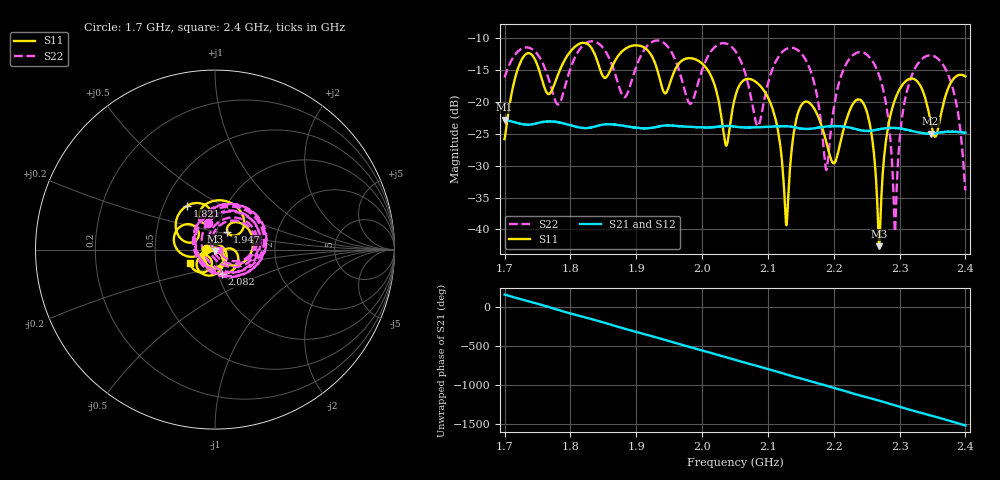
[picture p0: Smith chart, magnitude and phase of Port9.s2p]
# Hz S RI R 50
! CMT, CMT808U, 21440046, 21.4.3/4
! Date: 9/9/2026 12:53:36 AM
! Data: Format (Calibration Info)
! Freq	S11:Re/Im(F2)	S41:Re/Im(F2)	S14:Re/Im(F2)	S44:Re/Im(F2)
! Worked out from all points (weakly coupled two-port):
!   3001 points, 1.7 GHz to 2.4 GHz, reference 50 ohm
!   highest |S21| = -22.82 dB at 1.7 GHz (marker M1); lowest = -25.0 dB at 2.347 GHz (marker M2)
!   lowest |S11| = -42.6 dB at 2.269 GHz (marker M3), VSWR 1.01, Z = 49.8 - j0.72 ohm
!   |S11| at or under -10 dB: start of sweep to end of sweep
!   |S22| runs from -40.3 to -10.4 dB; largest |S21 - S12| = 0.0012
!   S11 on the Smith chart (normalised r, x): 1.7 GHz: 0.90, +0.00; 1.821 GHz: 0.66, +0.35; 1.947 GHz: 1.12, +0.23; 2.082 GHz: 1.04, -0.29; 2.4 GHz: 0.75, -0.11
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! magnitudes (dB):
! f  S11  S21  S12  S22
! 1.7 GHz  -25.8  -22.8  -22.9  -16.2
! 1.73 GHz  -12.8  -23.5  -23.6  -11.5
! 1.781 GHz  -15.7  -23.2  -23.2  -20.4
! 1.817 GHz  -10.8  -24.1  -24.1  -11.4
! 1.821 GHz  -10.8  -24.1  -24.1  -11.0
! 1.882 GHz  -11.8  -23.8  -23.8  -19.3
! 1.934 GHz  -15.6  -23.9  -23.9  -10.4
! 1.947 GHz  -18.4  -23.7  -23.7  -11.2
! 1.982 GHz  -13.2  -23.9  -24.0  -20.3
! 2.036 GHz  -26.8  -23.8  -23.8  -10.9
! 2.05 GHz  -19.3  -23.9  -23.9  -12.0
! 2.082 GHz  -16.9  -24.0  -24.0  -23.2
! 2.128 GHz  -39.3  -23.8  -23.9  -11.7
! 2.167 GHz  -20.5  -24.2  -24.2  -15.7
! 2.189 GHz  -26.4  -23.9  -23.9  -30.7
! 2.245 GHz  -20.2  -24.5  -24.5  -12.3
! 2.269 GHz  -42.6  -24.3  -24.3  -15.8
! 2.284 GHz  -23.4  -24.1  -24.1  -23.3
! 2.293 GHz  -19.6  -24.1  -24.1  -40.0
! 2.311 GHz  -16.7  -24.4  -24.4  -18.4
! 2.347 GHz  -23.0  -25.0  -25.0  -12.7
! 2.4 GHz  -16.0  -24.9  -24.8  -33.9
